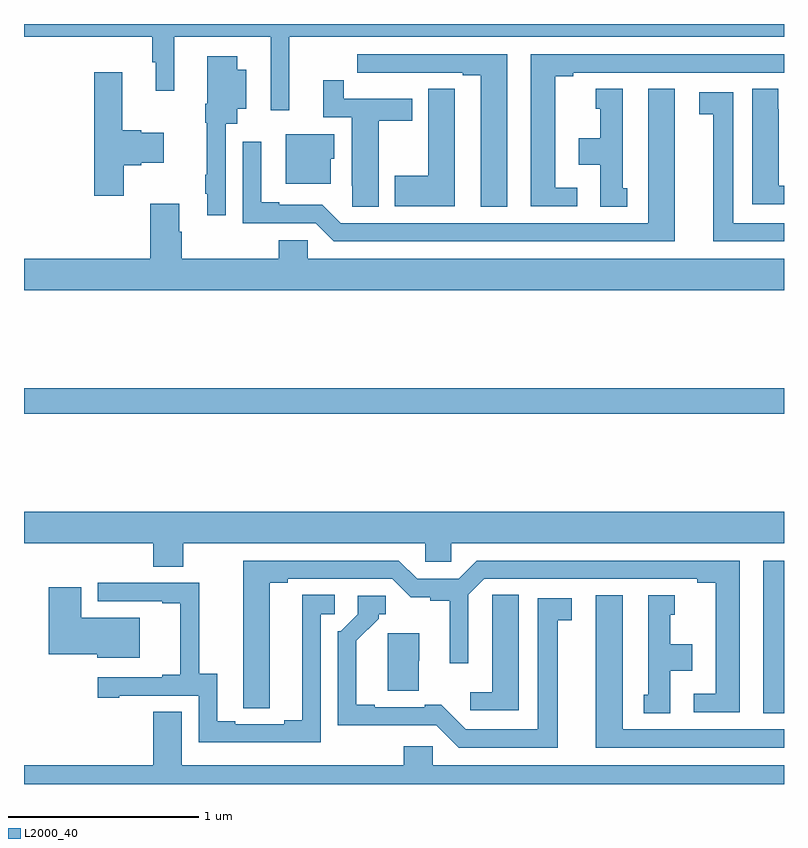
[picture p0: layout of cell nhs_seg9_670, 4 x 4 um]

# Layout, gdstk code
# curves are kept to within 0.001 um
import gdstk
lib = gdstk.Library(unit=1e-6, precision=1e-09)
def R(c, l, rs):  # rectangles x0, y0, x1, y1
    for r in rs: c.add(gdstk.rectangle(r[:2], r[2:], *l))
def P(c, l, *ps):  # polygons
    for p in ps: c.add(gdstk.Polygon(p, *l))
L2000_40 = (2000, 40)

nhs_seg9_670 = lib.new_cell('nhs_seg9_670')
R(nhs_seg9_670, L2000_40, [(148.892,1180.873,149,1181.676), (145,1182.448,149,1182.584)])
P(nhs_seg9_670, L2000_40, [(146.396,1184.432),(149,1184.432),(149,1184.5),(145,1184.5),(145,1184.432),(145.675,1184.432),(145.675,1184.298),(145.694,1184.298),(145.694,1184.148),(145.792,1184.148),(145.792,1184.432),(146.298,1184.432),(146.298,1184.046),(146.396,1184.046)],
  [(147.544,1184.34),(146.754,1184.34),(146.754,1184.244),(146.866,1184.244),(146.866,1184.243),(147.032,1184.243),(147.032,1184.244),(147.308,1184.244),(147.308,1184.229),(147.404,1184.229),(147.404,1183.537),(147.544,1183.537)],
  [(147.913,1183.638),(147.796,1183.638),(147.796,1184.224),(147.892,1184.224),(147.892,1184.244),(149,1184.244),(149,1184.34),(147.668,1184.34),(147.668,1183.542),(147.913,1183.542)],
  [(146.061,1183.976),(146.122,1183.976),(146.122,1184.054),(146.17,1184.054),(146.17,1184.26),(146.122,1184.26),(146.122,1184.329),(145.964,1184.329),(145.964,1184.08),(145.953,1184.08),(145.953,1183.98),(145.963,1183.98),(145.963,1183.706),(145.953,1183.706),(145.953,1183.606),(145.964,1183.606),(145.964,1183.494),(146.061,1183.494)],
  [(145.524,1183.757),(145.617,1183.757),(145.617,1183.769),(145.735,1183.769),(145.735,1183.927),(145.617,1183.927),(145.617,1183.94),(145.516,1183.94),(145.516,1184.245),(145.37,1184.245),(145.37,1183.596),(145.524,1183.596)],
  [(146.866,1183.99),(147.043,1183.99),(147.043,1184.106),(146.684,1184.106),(146.684,1184.203),(146.576,1184.203),(146.576,1184.01),(146.726,1184.01),(146.726,1183.648),(146.727,1183.648),(146.727,1183.537),(146.866,1183.537)],
  [(147.268,1184.051),(147.267,1184.051),(147.267,1184.159),(147.128,1184.159),(147.128,1183.701),(146.951,1183.701),(146.951,1183.541),(147.268,1183.541)],
  [(149,1183.648),(148.972,1183.648),(148.972,1184.051),(148.971,1184.051),(148.971,1184.159),(148.832,1184.159),(148.832,1183.551),(149,1183.551)],
  [(148.174,1183.635),(148.15,1183.635),(148.15,1184.158),(148.01,1184.158),(148.01,1184.055),(148.034,1184.055),(148.034,1183.9),(147.92,1183.9),(147.92,1183.76),(148.034,1183.76),(148.034,1183.537),(148.174,1183.537)],
  [(148.426,1184.158),(148.286,1184.158),(148.286,1183.452),(146.667,1183.452),(146.571,1183.548),(146.344,1183.548),(146.344,1183.561),(146.248,1183.561),(146.248,1183.879),(146.151,1183.879),(146.151,1183.452),(146.535,1183.452),(146.631,1183.356),(148.426,1183.356)],
  [(149,1183.452),(148.732,1183.452),(148.732,1184.142),(148.554,1184.142),(148.554,1184.026),(148.628,1184.026),(148.628,1183.356),(149,1183.356)],
  [(146.614,1183.791),(146.632,1183.791),(146.632,1183.921),(146.378,1183.921),(146.378,1183.658),(146.614,1183.658)],
  [(149,1183.264),(146.493,1183.264),(146.493,1183.362),(146.342,1183.362),(146.342,1183.264),(145.829,1183.264),(145.829,1183.406),(145.816,1183.406),(145.816,1183.555),(145.664,1183.555),(145.664,1183.264),(145,1183.264),(145,1183.1),(149,1183.1)],
  [(145.839,1181.768),(147.111,1181.768),(147.111,1181.67),(147.249,1181.67),(147.249,1181.768),(149,1181.768),(149,1181.932),(145,1181.932),(145,1181.768),(145.679,1181.768),(145.679,1181.644),(145.839,1181.644)],
  [(148.768,1181.676),(147.383,1181.676),(147.287,1181.58),(147.069,1181.58),(146.973,1181.676),(146.153,1181.676),(146.154,1180.9),(146.293,1180.9),(146.293,1181.56),(146.389,1181.56),(146.389,1181.58),(146.937,1181.58),(147.035,1181.483),(147.138,1181.483),(147.138,1181.464),(147.242,1181.464),(147.242,1181.136),(147.339,1181.136),(147.339,1181.496),(147.423,1181.58),(148.544,1181.58),(148.544,1181.56),(148.64,1181.56),(148.64,1180.974),(148.524,1180.974),(148.524,1180.878),(148.768,1180.878)],
  [(146.562,1181.394),(146.635,1181.394),(146.635,1181.495),(146.465,1181.495),(146.465,1180.835),(146.369,1180.835),(146.369,1180.815),(146.113,1180.815),(146.113,1180.83),(146.017,1180.83),(146.017,1181.081),(145.923,1181.081),(145.923,1181.559),(145.389,1181.559),(145.389,1181.463),(145.727,1181.463),(145.727,1181.451),(145.823,1181.451),(145.823,1181.074),(145.727,1181.074),(145.727,1181.061),(145.389,1181.061),(145.389,1180.953),(145.501,1180.953),(145.501,1180.965),(145.92,1180.965),(145.92,1180.719),(146.562,1180.719)],
  [(145.609,1181.374),(145.3,1181.374),(145.3,1181.536),(145.13,1181.536),(145.13,1181.183),(145.386,1181.183),(145.386,1181.165),(145.609,1181.165)],
  [(147.604,1181.495),(147.465,1181.495),(147.465,1181.387),(147.464,1181.387),(147.464,1180.984),(147.348,1180.984),(147.348,1180.887),(147.604,1180.887)],
  [(149,1180.788),(148.15,1180.788),(148.15,1181.494),(148.01,1181.494),(148.01,1180.692),(149,1180.692)],
  [(148.402,1181.096),(148.516,1181.096),(148.516,1181.236),(148.402,1181.236),(148.402,1181.391),(148.426,1181.391),(148.426,1181.494),(148.286,1181.494),(148.286,1180.971),(148.262,1180.971),(148.262,1180.873),(148.402,1180.873)],
  [(147.808,1181.362),(147.883,1181.362),(147.883,1181.478),(147.704,1181.478),(147.704,1180.788),(147.324,1180.788),(147.196,1180.916),(147.11,1180.916),(147.11,1180.905),(146.845,1180.905),(146.845,1180.918),(146.749,1180.918),(146.749,1181.254),(146.866,1181.371),(146.866,1181.394),(146.905,1181.394),(146.905,1181.49),(146.757,1181.49),(146.757,1181.394),(146.667,1181.304),(146.652,1181.304),(146.652,1180.808),(147.171,1180.809),(147.288,1180.692),(147.808,1180.692)],
  [(147.078,1181.148),(147.079,1181.148),(147.079,1181.293),(146.915,1181.293),(146.915,1180.99),(147.078,1180.99)],
  [(149,1180.6),(147.15,1180.6),(147.15,1180.698),(146.999,1180.698),(146.999,1180.6),(145.831,1180.6),(145.831,1180.88),(145.679,1180.88),(145.679,1180.6),(145,1180.6),(145,1180.5),(149,1180.5)])

lib.write_gds('nhs_seg9_670.gds')
